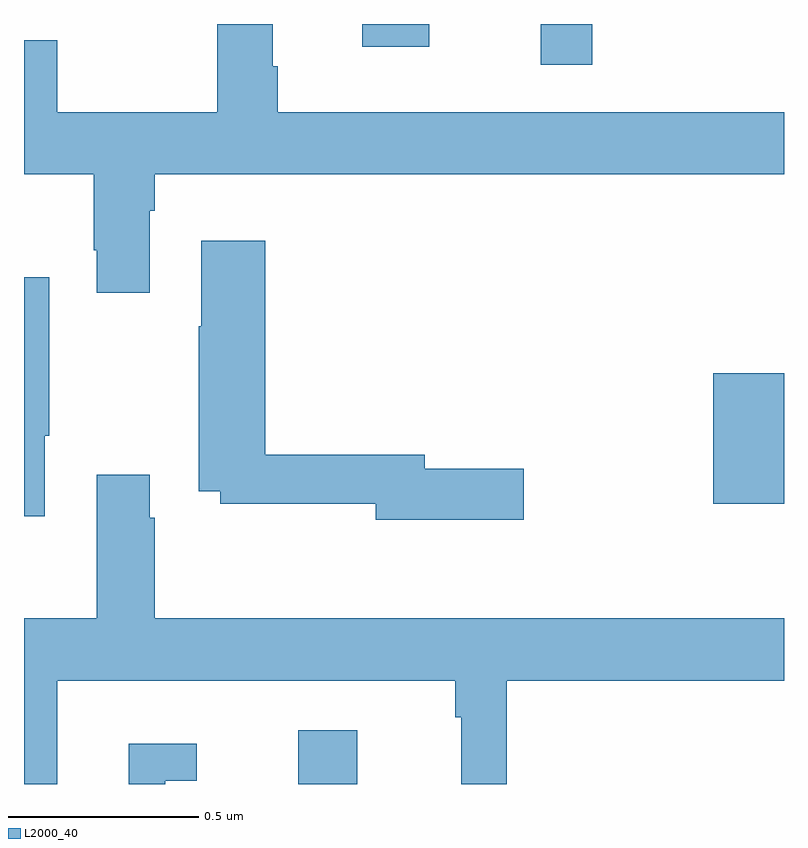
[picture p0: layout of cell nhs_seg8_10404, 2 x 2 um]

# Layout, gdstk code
import gdstk
lib = gdstk.Library(unit=1e-6, precision=1e-09)
def R(c, l, rs):  # rectangles x0, y0, x1, y1
    for r in rs: c.add(gdstk.rectangle(r[:2], r[2:], *l))
def P(c, l, *ps):  # polygons
    for p in ps: c.add(gdstk.Polygon(p, *l))
L2000_40 = (2000, 40)

nhs_seg8_10404 = lib.new_cell('nhs_seg8_10404')
R(nhs_seg8_10404, L2000_40, [(249.722,1110.9,249.877,1111.042), (250.814,1111.637,251,1111.981), (250.36,1112.793,250.495,1112.9), (249.89,1112.84,250.066,1112.9)])
P(nhs_seg8_10404, L2000_40, [(249.331,1112.408),(249.344,1112.408),(249.344,1112.504),(251,1112.504),(251,1112.668),(249.668,1112.668),(249.668,1112.789),(249.655,1112.789),(249.655,1112.9),(249.508,1112.9),(249.508,1112.668),(249.088,1112.668),(249.088,1112.857),(249,1112.857),(249,1112.504),(249.184,1112.504),(249.184,1112.305),(249.191,1112.305),(249.191,1112.193),(249.331,1112.193)],
  [(250.315,1111.73),(250.054,1111.73),(250.054,1111.766),(249.635,1111.766),(249.635,1112.329),(249.467,1112.329),(249.467,1112.105),(249.46,1112.105),(249.46,1111.67),(249.516,1111.67),(249.516,1111.638),(249.926,1111.638),(249.926,1111.595),(250.315,1111.595)],
  [(249.055,1111.817),(249.067,1111.817),(249.067,1112.233),(249,1112.233),(249,1111.605),(249.055,1111.605)],
  [(249.088,1111.172),(250.135,1111.172),(250.135,1111.076),(250.15,1111.076),(250.15,1110.9),(250.271,1110.9),(250.271,1111.172),(251,1111.172),(251,1111.336),(249.344,1111.336),(249.344,1111.601),(249.331,1111.601),(249.331,1111.714),(249.191,1111.714),(249.191,1111.336),(249,1111.336),(249,1110.9),(249.088,1110.9)],
  [(249.372,1110.909),(249.454,1110.909),(249.454,1111.006),(249.275,1111.006),(249.275,1110.9),(249.372,1110.9)])

lib.write_gds('nhs_seg8_10404.gds')
